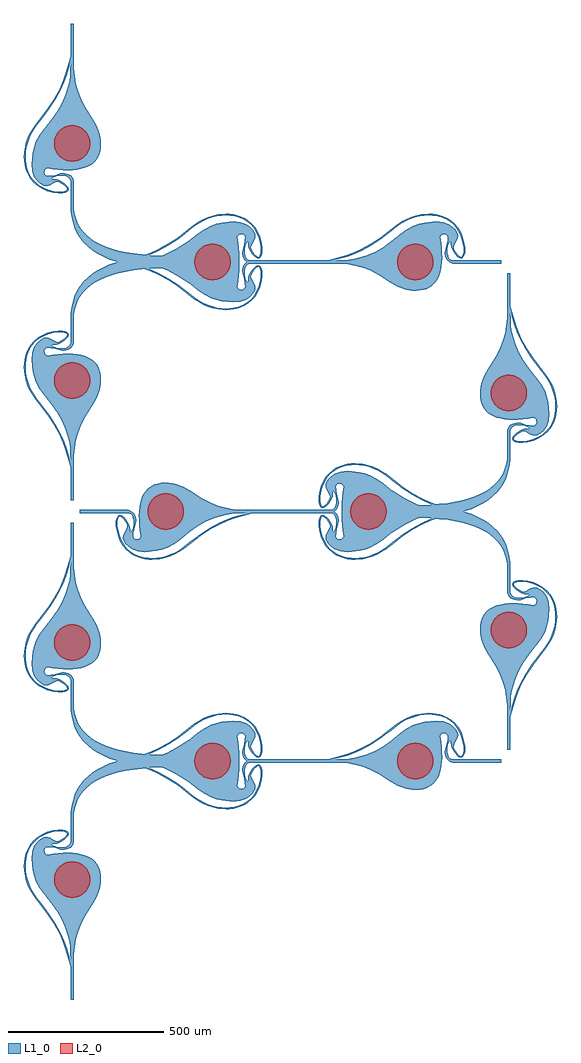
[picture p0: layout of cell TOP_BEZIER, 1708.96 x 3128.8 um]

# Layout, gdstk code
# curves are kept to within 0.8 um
from math import pi, radians
import gdstk
lib = gdstk.Library(unit=1e-6, precision=1e-09)
def R(c, l, rs):  # rectangles x0, y0, x1, y1
    for r in rs: c.add(gdstk.rectangle(r[:2], r[2:], *l))
def P(c, l, *ps):  # polygons
    for p in ps: c.add(gdstk.Polygon(p, *l))
L1_0 = (1, 0)
L2_0 = (2, 0)

network = lib.new_cell('NETWORK')
R(network, L1_0, [(-1105.055,-764.401,-1094.945,-684.401), (-1105.055,684.401,-1094.945,764.401)])
P(network, L1_0, [(195.591,-4.995),(120.058,-5.021),(110.872,-1.57),(102.58,5.22),(98.087,12.881),(95.188,24.691),(96.203,37.536),(101.431,54.653),(103.819,68.998),(104.388,80.725),(99.759,86.638),(107.162,81.625),(117.642,69.984),(109.311,62.052),(104.875,51.672),(103.181,39.579),(102.982,28.296),(105.252,19.326),(106.476,15.105),(111.172,9.114),(120.058,5.004),(195.607,5)],
  [(-304.401,5.055),(-212.49,6.7),(-194.618,9.967),(-158.072,20.102),(-130.295,31.756),(-104.294,46.08),(-28.202,103.116),(-4.748,116.035),(12.093,121.969),(29.946,126.092),(66.978,129.939),(89.639,127.445),(107.815,120.933),(120.445,111.69),(129.248,102.594),(136.278,90.425),(137.131,83.385),(136.278,77.228),(130.082,64.219),(117.642,69.984),(107.162,81.625),(95.596,88.651),(88.915,88.384),(83.392,85.713),(79.817,80.188),(84.517,44.342),(85.91,12.673),(83.996,-14.819),(78.773,-38.135),(70.243,-57.274),(58.405,-72.236),(43.26,-83.021),(24.807,-89.629),(3.047,-92.061),(-9.074,-91.71),(-29.325,-88.491),(-55.516,-79.23),(-78.163,-66.655),(-115.687,-42.773),(-144.572,-27.262),(-166.06,-18.969),(-191.816,-11.576),(-215.002,-7.742),(-240.125,-5.783),(-304.401,-5.055)],
  [(-263.67,5.041),(-278.766,5.044),(-221.005,21.817),(-198.32,29.804),(-174.344,40.317),(-142.962,57.572),(-112.162,78.167),(-61.065,117.225),(-42.83,129.712),(-29.428,137.356),(-14.99,143.497),(0.181,148.339),(18.408,152.322),(42.859,154.481),(67.499,152.377),(87.56,147.16),(104.407,139.537),(115.337,132.451),(126.247,122.852),(137.883,109.311),(146.904,93.227),(152.588,79.122),(157.621,59.849),(159.844,45.138),(159.65,29.909),(157.754,22.131),(154.553,15.862),(151.293,11.774),(146.582,10.508),(140.13,12.89),(127.85,24.606),(118.361,40.228),(115.353,49.493),(113.896,58.081),(114.449,64.58),(117.642,69.984),(130.082,64.219),(122.916,48.303),(123.942,41.344),(133.99,24.606),(139.843,19.298),(147.04,15.209),(151.851,20.701),(154.642,31.302),(154.741,45.699),(152.783,58.318),(147.882,77.189),(142.522,90.789),(133.439,106.537),(123.384,118.894),(111.612,129.152),(98.805,136.929),(82.984,143.468),(66.13,147.516),(55.008,148.889),(42.334,149.411),(29.464,148.627),(14.228,146.406),(-0.611,142.742),(-14.918,137.845),(-28.441,131.968),(-43.285,123.797),(-57.996,113.705),(-110.341,73.271),(-140.086,53.586),(-171.77,35.955),(-197.004,24.904),(-218.214,17.354)],
  [(-454.409,-4.995),(-529.942,-5.021),(-539.128,-1.57),(-547.42,5.22),(-551.913,12.881),(-554.812,24.691),(-553.797,37.536),(-548.569,54.653),(-546.181,68.998),(-545.612,80.725),(-550.241,86.638),(-542.838,81.625),(-532.358,69.984),(-540.689,62.052),(-545.125,51.672),(-546.819,39.579),(-547.018,28.296),(-544.748,19.326),(-543.524,15.105),(-538.828,9.114),(-529.942,5.004),(-454.393,5)],
  [(-954.401,5.055),(-862.49,6.7),(-844.618,9.967),(-808.072,20.102),(-780.295,31.756),(-754.294,46.08),(-678.202,103.116),(-654.748,116.035),(-637.907,121.969),(-620.054,126.092),(-583.022,129.939),(-560.361,127.445),(-542.185,120.933),(-529.555,111.69),(-520.752,102.594),(-513.722,90.425),(-512.869,83.385),(-513.722,77.228),(-519.918,64.219),(-532.358,69.984),(-542.838,81.625),(-554.404,88.651),(-561.085,88.384),(-566.608,85.713),(-570.183,80.188),(-565.483,44.342),(-564.09,12.673),(-566.004,-14.819),(-571.227,-38.135),(-579.757,-57.274),(-591.595,-72.236),(-606.74,-83.021),(-625.193,-89.629),(-646.953,-92.061),(-659.074,-91.71),(-679.325,-88.491),(-705.516,-79.23),(-728.163,-66.655),(-765.687,-42.773),(-794.572,-27.262),(-816.06,-18.969),(-841.816,-11.576),(-865.002,-7.742),(-890.125,-5.783),(-954.401,-5.055)],
  [(-913.67,5.041),(-928.766,5.044),(-871.005,21.817),(-848.32,29.804),(-824.344,40.317),(-792.962,57.572),(-762.162,78.167),(-711.065,117.225),(-692.83,129.712),(-679.428,137.356),(-664.99,143.497),(-649.819,148.339),(-631.592,152.322),(-607.141,154.481),(-582.501,152.377),(-562.44,147.16),(-545.593,139.537),(-534.663,132.451),(-523.753,122.852),(-512.117,109.311),(-503.096,93.227),(-497.412,79.122),(-492.379,59.849),(-490.156,45.138),(-490.35,29.909),(-492.246,22.131),(-495.447,15.862),(-498.707,11.774),(-503.418,10.508),(-509.87,12.89),(-522.15,24.606),(-531.639,40.228),(-534.647,49.493),(-536.104,58.081),(-535.551,64.58),(-532.358,69.984),(-519.918,64.219),(-527.084,48.303),(-526.058,41.344),(-516.01,24.606),(-510.157,19.298),(-502.96,15.209),(-498.149,20.701),(-495.358,31.302),(-495.259,45.699),(-497.217,58.318),(-502.118,77.189),(-507.478,90.789),(-516.561,106.537),(-526.616,118.894),(-538.388,129.152),(-551.195,136.929),(-567.016,143.468),(-583.87,147.516),(-594.992,148.889),(-607.666,149.411),(-620.536,148.627),(-635.772,146.406),(-650.611,142.742),(-664.918,137.845),(-678.441,131.968),(-693.285,123.797),(-707.996,113.705),(-760.341,73.271),(-790.086,53.586),(-821.77,35.955),(-847.004,24.904),(-868.214,17.354)],
  [(-454.409,4.995),(-529.942,5.021),(-539.128,1.57),(-547.42,-5.22),(-551.913,-12.881),(-554.812,-24.691),(-553.797,-37.536),(-548.569,-54.653),(-546.181,-68.998),(-545.612,-80.725),(-550.241,-86.638),(-542.838,-81.625),(-532.358,-69.984),(-540.689,-62.052),(-545.125,-51.672),(-546.819,-39.579),(-547.018,-28.296),(-544.748,-19.326),(-543.524,-15.105),(-538.828,-9.114),(-529.942,-5.004),(-454.393,-5)],
  [(-954.401,-5.055),(-862.49,-6.7),(-844.618,-9.967),(-808.072,-20.102),(-780.295,-31.756),(-754.294,-46.08),(-678.202,-103.116),(-654.748,-116.035),(-637.907,-121.969),(-620.054,-126.092),(-583.022,-129.939),(-560.361,-127.445),(-542.185,-120.933),(-529.555,-111.69),(-520.752,-102.594),(-513.722,-90.425),(-512.869,-83.385),(-513.722,-77.228),(-519.918,-64.219),(-532.358,-69.984),(-542.838,-81.625),(-554.404,-88.651),(-561.085,-88.384),(-566.608,-85.713),(-570.183,-80.188),(-565.483,-44.342),(-564.09,-12.673),(-566.004,14.819),(-571.227,38.135),(-579.757,57.274),(-591.595,72.236),(-606.74,83.021),(-625.193,89.629),(-646.953,92.061),(-659.074,91.71),(-679.325,88.491),(-705.516,79.23),(-728.163,66.655),(-765.687,42.773),(-794.572,27.262),(-816.06,18.969),(-841.816,11.576),(-865.002,7.742),(-890.125,5.783),(-954.401,5.055)],
  [(-913.67,-5.041),(-928.766,-5.044),(-871.005,-21.817),(-848.32,-29.804),(-824.344,-40.317),(-792.962,-57.572),(-762.162,-78.167),(-711.065,-117.225),(-692.83,-129.712),(-679.428,-137.356),(-664.99,-143.497),(-649.819,-148.339),(-631.592,-152.322),(-607.141,-154.481),(-582.501,-152.377),(-562.44,-147.16),(-545.593,-139.537),(-534.663,-132.451),(-523.753,-122.852),(-512.117,-109.311),(-503.096,-93.227),(-497.412,-79.122),(-492.379,-59.849),(-490.156,-45.138),(-490.35,-29.909),(-492.246,-22.131),(-495.447,-15.862),(-498.707,-11.774),(-503.418,-10.508),(-509.87,-12.89),(-522.15,-24.606),(-531.639,-40.228),(-534.647,-49.493),(-536.104,-58.081),(-535.551,-64.58),(-532.358,-69.984),(-519.918,-64.219),(-527.084,-48.303),(-526.058,-41.344),(-516.01,-24.606),(-510.157,-19.298),(-502.96,-15.209),(-498.149,-20.701),(-495.358,-31.302),(-495.259,-45.699),(-497.217,-58.318),(-502.118,-77.189),(-507.478,-90.789),(-516.561,-106.537),(-526.616,-118.894),(-538.388,-129.152),(-551.195,-136.929),(-567.016,-143.468),(-583.87,-147.516),(-594.992,-148.889),(-607.666,-149.411),(-620.536,-148.627),(-635.772,-146.406),(-650.611,-142.742),(-664.918,-137.845),(-678.441,-131.968),(-693.285,-123.797),(-707.996,-113.705),(-760.341,-73.271),(-790.086,-53.586),(-821.77,-35.955),(-847.004,-24.904),(-868.214,-17.354)],
  [(-1095.005,184.409),(-1094.979,259.942),(-1098.43,269.128),(-1105.22,277.42),(-1112.881,281.913),(-1124.691,284.812),(-1137.536,283.797),(-1154.653,278.569),(-1168.998,276.181),(-1180.725,275.612),(-1186.638,280.241),(-1181.625,272.838),(-1169.984,262.358),(-1162.052,270.689),(-1151.672,275.125),(-1139.579,276.819),(-1128.296,277.018),(-1119.326,274.748),(-1115.105,273.524),(-1109.114,268.828),(-1105.004,259.942),(-1105,184.393)],
  [(-1105.055,684.401),(-1106.7,592.49),(-1109.967,574.618),(-1120.102,538.072),(-1131.756,510.295),(-1146.08,484.294),(-1203.116,408.202),(-1216.035,384.748),(-1221.969,367.907),(-1226.092,350.054),(-1229.939,313.022),(-1227.445,290.361),(-1220.933,272.185),(-1211.69,259.555),(-1202.594,250.752),(-1190.425,243.722),(-1183.385,242.869),(-1177.228,243.722),(-1164.219,249.918),(-1169.984,262.358),(-1181.625,272.838),(-1188.651,284.404),(-1188.384,291.085),(-1185.713,296.608),(-1180.188,300.183),(-1144.342,295.483),(-1112.673,294.09),(-1085.181,296.004),(-1061.865,301.227),(-1042.726,309.757),(-1027.764,321.595),(-1016.979,336.74),(-1010.371,355.193),(-1007.939,376.953),(-1008.29,389.074),(-1011.509,409.325),(-1020.77,435.516),(-1033.345,458.163),(-1057.227,495.687),(-1072.738,524.572),(-1081.031,546.06),(-1088.424,571.816),(-1092.258,595.002),(-1094.217,620.125),(-1094.945,684.401)],
  [(-1105.041,643.67),(-1105.044,658.766),(-1121.817,601.005),(-1129.804,578.32),(-1140.317,554.344),(-1157.572,522.962),(-1178.167,492.162),(-1217.225,441.065),(-1229.712,422.83),(-1237.356,409.428),(-1243.497,394.99),(-1248.339,379.819),(-1252.322,361.592),(-1254.481,337.141),(-1252.377,312.501),(-1247.16,292.44),(-1239.537,275.593),(-1232.451,264.663),(-1222.852,253.753),(-1209.311,242.117),(-1193.227,233.096),(-1179.122,227.412),(-1159.849,222.379),(-1145.138,220.156),(-1129.909,220.35),(-1122.131,222.246),(-1115.862,225.447),(-1111.774,228.707),(-1110.508,233.418),(-1112.89,239.87),(-1124.606,252.15),(-1140.228,261.639),(-1149.493,264.647),(-1158.081,266.104),(-1164.58,265.551),(-1169.984,262.358),(-1164.219,249.918),(-1148.303,257.084),(-1141.344,256.058),(-1124.606,246.01),(-1119.298,240.157),(-1115.209,232.96),(-1120.701,228.149),(-1131.302,225.358),(-1145.699,225.259),(-1158.318,227.217),(-1177.189,232.118),(-1190.789,237.478),(-1206.537,246.561),(-1218.894,256.616),(-1229.152,268.388),(-1236.929,281.195),(-1243.468,297.016),(-1247.516,313.87),(-1248.889,324.992),(-1249.411,337.666),(-1248.627,350.536),(-1246.406,365.772),(-1242.742,380.611),(-1237.845,394.918),(-1231.968,408.441),(-1223.797,423.285),(-1213.705,437.996),(-1173.271,490.341),(-1153.586,520.086),(-1135.955,551.77),(-1124.904,577.004),(-1117.354,598.214)],
  [(-1095.005,-184.409),(-1094.979,-259.942),(-1098.43,-269.128),(-1105.22,-277.42),(-1112.881,-281.913),(-1124.691,-284.812),(-1137.536,-283.797),(-1154.653,-278.569),(-1168.998,-276.181),(-1180.725,-275.612),(-1186.638,-280.241),(-1181.625,-272.838),(-1169.984,-262.358),(-1162.052,-270.689),(-1151.672,-275.125),(-1139.579,-276.819),(-1128.296,-277.018),(-1119.326,-274.748),(-1115.105,-273.524),(-1109.114,-268.828),(-1105.004,-259.942),(-1105,-184.393)],
  [(-1105.055,-684.401),(-1106.7,-592.49),(-1109.967,-574.618),(-1120.102,-538.072),(-1131.756,-510.295),(-1146.08,-484.294),(-1203.116,-408.202),(-1216.035,-384.748),(-1221.969,-367.907),(-1226.092,-350.054),(-1229.939,-313.022),(-1227.445,-290.361),(-1220.933,-272.185),(-1211.69,-259.555),(-1202.594,-250.752),(-1190.425,-243.722),(-1183.385,-242.869),(-1177.228,-243.722),(-1164.219,-249.918),(-1169.984,-262.358),(-1181.625,-272.838),(-1188.651,-284.404),(-1188.384,-291.085),(-1185.713,-296.608),(-1180.188,-300.183),(-1144.342,-295.483),(-1112.673,-294.09),(-1085.181,-296.004),(-1061.865,-301.227),(-1042.726,-309.757),(-1027.764,-321.595),(-1016.979,-336.74),(-1010.371,-355.193),(-1007.939,-376.953),(-1008.29,-389.074),(-1011.509,-409.325),(-1020.77,-435.516),(-1033.345,-458.163),(-1057.227,-495.687),(-1072.738,-524.572),(-1081.031,-546.06),(-1088.424,-571.816),(-1092.258,-595.002),(-1094.217,-620.125),(-1094.945,-684.401)],
  [(-1105.041,-643.67),(-1105.044,-658.766),(-1121.817,-601.005),(-1129.804,-578.32),(-1140.317,-554.344),(-1157.572,-522.962),(-1178.167,-492.162),(-1217.225,-441.065),(-1229.712,-422.83),(-1237.356,-409.428),(-1243.497,-394.99),(-1248.339,-379.819),(-1252.322,-361.592),(-1254.481,-337.141),(-1252.377,-312.501),(-1247.16,-292.44),(-1239.537,-275.593),(-1232.451,-264.663),(-1222.852,-253.753),(-1209.311,-242.117),(-1193.227,-233.096),(-1179.122,-227.412),(-1159.849,-222.379),(-1145.138,-220.156),(-1129.909,-220.35),(-1122.131,-222.246),(-1115.862,-225.447),(-1111.774,-228.707),(-1110.508,-233.418),(-1112.89,-239.87),(-1124.606,-252.15),(-1140.228,-261.639),(-1149.493,-264.647),(-1158.081,-266.104),(-1164.58,-265.551),(-1169.984,-262.358),(-1164.219,-249.918),(-1148.303,-257.084),(-1141.344,-256.058),(-1124.606,-246.01),(-1119.298,-240.157),(-1115.209,-232.96),(-1120.701,-228.149),(-1131.302,-225.358),(-1145.699,-225.259),(-1158.318,-227.217),(-1177.189,-232.118),(-1190.789,-237.478),(-1206.537,-246.561),(-1218.894,-256.616),(-1229.152,-268.388),(-1236.929,-281.195),(-1243.468,-297.016),(-1247.516,-313.87),(-1248.889,-324.992),(-1249.411,-337.666),(-1248.627,-350.536),(-1246.406,-365.772),(-1242.742,-380.611),(-1237.845,-394.918),(-1231.968,-408.441),(-1223.797,-423.285),(-1213.705,-437.996),(-1173.271,-490.341),(-1153.586,-520.086),(-1135.955,-551.77),(-1124.904,-577.004),(-1117.354,-598.214)],
  [(-454.393,5),(-454.409,-4.995),(-304.401,-5.055),(-304.401,5.055)],
  [(-1105,184.393),(-1104.123,163.45),(-1101.492,143.639),(-1097.107,124.96),(-1090.968,107.412),(-1083.075,90.998),(-1073.428,75.715),(-1062.027,61.564),(-1048.872,48.545),(-1033.962,36.658),(-1017.299,25.904),(-998.882,16.281),(-978.711,7.791),(-956.786,0.432),(-933.107,-5.794),(-880.487,-14.851),(-820.85,-19.379),(-788.401,-19.945),(-788.401,19.945),(-849.552,21.767),(-877.579,24.045),(-928.539,31.334),(-972.703,42.268),(-1010.073,56.847),(-1026.21,65.503),(-1040.649,75.07),(-1053.388,85.548),(-1064.43,96.938),(-1073.772,109.238),(-1081.416,122.45),(-1087.361,136.573),(-1091.608,151.607),(-1094.156,167.553),(-1095.005,184.409)],
  [(-1095.005,-184.409),(-1094.156,-167.553),(-1091.608,-151.607),(-1087.361,-136.573),(-1081.416,-122.45),(-1073.772,-109.238),(-1064.43,-96.938),(-1053.388,-85.548),(-1040.649,-75.07),(-1026.21,-65.503),(-1010.073,-56.847),(-992.237,-49.102),(-972.703,-42.268),(-928.539,-31.334),(-903.908,-27.234),(-849.552,-21.767),(-788.401,-19.945),(-788.401,19.945),(-820.85,19.379),(-880.487,14.851),(-933.107,5.794),(-956.786,-0.432),(-978.711,-7.791),(-998.882,-16.281),(-1017.299,-25.904),(-1033.962,-36.658),(-1048.872,-48.545),(-1062.027,-61.564),(-1073.428,-75.715),(-1083.075,-90.998),(-1090.968,-107.412),(-1097.107,-124.96),(-1101.492,-143.639),(-1104.123,-163.45),(-1105,-184.393)],
  [(195.607,5),(195.591,-4.995),(275.591,-4.995),(275.607,5)])
P(network, L2_0, [(58,0),(56.952,10.977),(53.845,21.556),(48.793,31.357),(41.977,40.025),(32.127,48.289),(22.408,53.497),(11.879,56.771),(0.92,57.993),(-11.879,56.771),(-22.408,53.497),(-32.127,48.289),(-40.686,41.336),(-47.773,32.889),(-53.134,23.254),(-56.952,10.977),(-58,0),(-56.952,-10.977),(-53.845,-21.556),(-48.793,-31.357),(-41.977,-40.025),(-32.127,-48.289),(-22.408,-53.497),(-11.879,-56.771),(-0.92,-57.993),(11.879,-56.771),(22.408,-53.497),(32.127,-48.289),(40.686,-41.336),(47.773,-32.889),(53.134,-23.254),(56.952,-10.977)],
  [(-592,0),(-593.048,10.977),(-596.155,21.556),(-601.207,31.357),(-608.023,40.025),(-617.873,48.289),(-627.592,53.497),(-638.121,56.771),(-649.08,57.993),(-661.879,56.771),(-672.408,53.497),(-682.127,48.289),(-690.686,41.336),(-697.773,32.889),(-703.134,23.254),(-706.952,10.977),(-708,0),(-706.952,-10.977),(-703.845,-21.556),(-698.793,-31.357),(-691.977,-40.025),(-682.127,-48.289),(-672.408,-53.497),(-661.879,-56.771),(-650.92,-57.993),(-638.121,-56.771),(-627.592,-53.497),(-617.873,-48.289),(-609.314,-41.336),(-602.227,-32.889),(-596.866,-23.254),(-593.048,-10.977)],
  [(-1042,380),(-1043.048,390.977),(-1046.866,403.254),(-1052.227,412.889),(-1059.314,421.336),(-1067.873,428.289),(-1077.592,433.497),(-1088.121,436.771),(-1099.08,437.993),(-1111.879,436.771),(-1122.408,433.497),(-1132.127,428.289),(-1140.686,421.336),(-1147.773,412.889),(-1153.134,403.254),(-1156.952,390.977),(-1158,380),(-1156.952,369.023),(-1153.134,356.746),(-1147.773,347.111),(-1140.686,338.664),(-1132.127,331.711),(-1122.408,326.503),(-1111.879,323.229),(-1100.92,322.007),(-1088.121,323.229),(-1077.592,326.503),(-1067.873,331.711),(-1059.314,338.664),(-1052.227,347.111),(-1046.866,356.746),(-1043.048,369.023)],
  [(-1042,-380),(-1043.048,-369.023),(-1046.866,-356.746),(-1052.227,-347.111),(-1059.314,-338.664),(-1067.873,-331.711),(-1077.592,-326.503),(-1088.121,-323.229),(-1099.08,-322.007),(-1111.879,-323.229),(-1122.408,-326.503),(-1132.127,-331.711),(-1140.686,-338.664),(-1147.773,-347.111),(-1153.134,-356.746),(-1156.952,-369.023),(-1158,-380),(-1156.952,-390.977),(-1153.134,-403.254),(-1147.773,-412.889),(-1140.686,-421.336),(-1132.127,-428.289),(-1122.408,-433.497),(-1111.879,-436.771),(-1100.92,-437.993),(-1088.121,-436.771),(-1077.592,-433.497),(-1067.873,-428.289),(-1059.314,-421.336),(-1052.227,-412.889),(-1046.866,-403.254),(-1043.048,-390.977)])

top_bezier = lib.new_cell('TOP_BEZIER')
top_bezier.add(gdstk.Reference(network, (0,0)))
top_bezier.add(gdstk.Reference(network, (0,1600)))
top_bezier.add(gdstk.Reference(network, (-800,800), rotation=pi))

lib.write_gds('TOP_BEZIER.gds')
